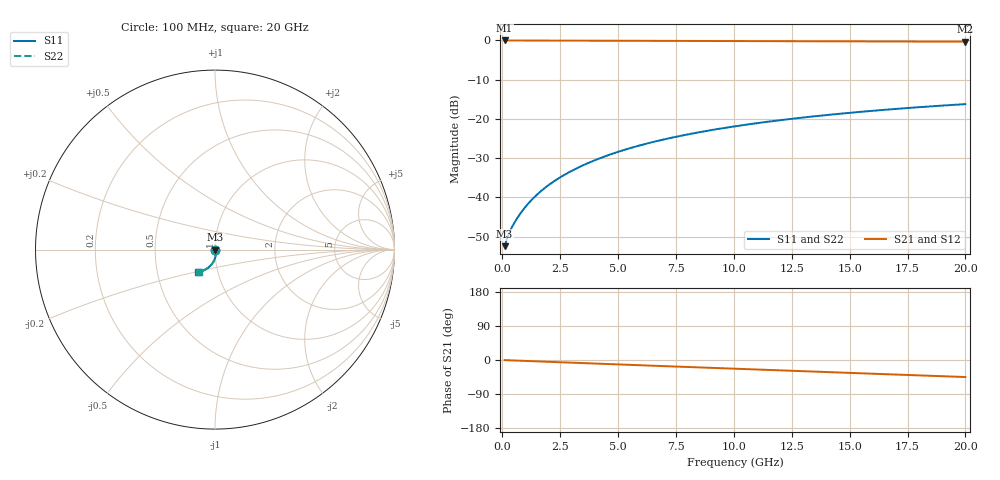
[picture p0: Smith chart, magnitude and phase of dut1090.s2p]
! Touchstone file exported from HFSS 2026.1.0
!  File:  C:/ffzhzh/LocalFiles/Ansys_Project_Files/temp_train_TMRDL_1090_1783161059_43440.aedt
!  Generated:  06:32:18 PM Jul  4, 2026
!  Design:  TMRDL
!  Project:  temp_train_TMRDL_1090_1783161059_43440
! Variables:
!  h_bsmrdl = 2um
!  h_ox = 20um
!  h_rdl = 5um
!  h_sub = 80um
!  h_tmrdl = 4.91um
!  h_tsv = 80um
!  h_via = 3um
!  l_bsmrdl = 300um
!  l_sub = 1192.29um
!  l_tmrdl = 792.29um
!  m_sub = 200um
!  pitch = 32.51um
!  r_tsv = 6um
!  s_tmrdl = 10um
!  w_bsmrdl = 18um
!  w_sub = 500um
!  w_tmrdl = 29.34um
!  x_tsv_center1 = 806.96um
!  x_tsv_center2 = 1124.96um
!  x_tsv_center3 = 1946.59um
!  x_tsv_center4 = 2264.59um
!  x_tsv_center5 = 3086.22um
!  x_tsv_center6 = 3404.22um
# GHz S MA R 50.000000
! Terminal data exported
! Port[1] = TM_RDL1_1_T1
! Port[2] = TM_RDL1_1_T2
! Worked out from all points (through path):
!   200 points, 100 MHz to 20 GHz, reference 50 ohm
!   highest |S21| = -0.02 dB at 100 MHz (marker M1); lowest = -0.3 dB at 20 GHz (marker M2)
!   group delay of S21, straight-line fit = 6.22 ps
!   lowest |S11| = -52.4 dB at 100 MHz (marker M3), VSWR 1.00, Z = 50.2 + j0.0126 ohm
!   |S11| at or under -10 dB: start of sweep to end of sweep
!   |S22| runs from -52.4 to -16.2 dB; largest |S21 - S12| = 4.3e-15
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0.1  0.002395 3.0  0.9976 -0.3  0.9976 -0.3  0.002395 3.0
! Gamma 0 0 0 0
! Port Impedance 50 0 50 0
0.2  0.002969 -3.3  0.997 -0.5  0.997 -0.5  0.002968 -3.3
0.3  0.003542 -12.9  0.9965 -0.8  0.9965 -0.8  0.003542 -12.9
0.5  0.004636 -30.0  0.9959 -1.3  0.9959 -1.3  0.004637 -30.0
0.7  0.005769 -42.1  0.9956 -1.7  0.9956 -1.7  0.005769 -42.1
0.9  0.006968 -50.5  0.9953 -2.2  0.9953 -2.2  0.006968 -50.5
1.1  0.008224 -56.5  0.9951 -2.7  0.9951 -2.7  0.008225 -56.5
1.3  0.009526 -61.0  0.9949 -3.1  0.9949 -3.1  0.009527 -61.0
1.8  0.01294 -68.3  0.9942 -4.3  0.9942 -4.3  0.01294 -68.3
2.3  0.01654 -72.9  0.9935 -5.5  0.9935 -5.5  0.01655 -72.9
2.9  0.02107 -76.8  0.9925 -6.9  0.9925 -6.9  0.02107 -76.7
3.5  0.02577 -79.8  0.9915 -8.3  0.9915 -8.3  0.02577 -79.7
4.2  0.03143 -82.7  0.9902 -9.9  0.9902 -9.9  0.03143 -82.7
5  0.03806 -85.8  0.9888 -11.7  0.9888 -11.7  0.03806 -85.7
5.9  0.04564 -88.9  0.9872 -13.7  0.9872 -13.7  0.04564 -88.9
6.8  0.05326 -91.9  0.9856 -15.8  0.9856 -15.8  0.05327 -91.9
8.3  0.06594 -96.5  0.9831 -19.1  0.9831 -19.1  0.06594 -96.5
10.1  0.08093 -101.7  0.9801 -23.1  0.9801 -23.1  0.08093 -101.7
11.7  0.09393 -106.1  0.9774 -26.7  0.9774 -26.7  0.09394 -106.0
13.4  0.1073 -110.5  0.9745 -30.5  0.9745 -30.5  0.1074 -110.5
16.7  0.1319 -118.8  0.9685 -37.8  0.9685 -37.8  0.132 -118.7
20  0.1543 -126.7  0.9623 -45.0  0.9623 -45.0  0.1543 -126.6
